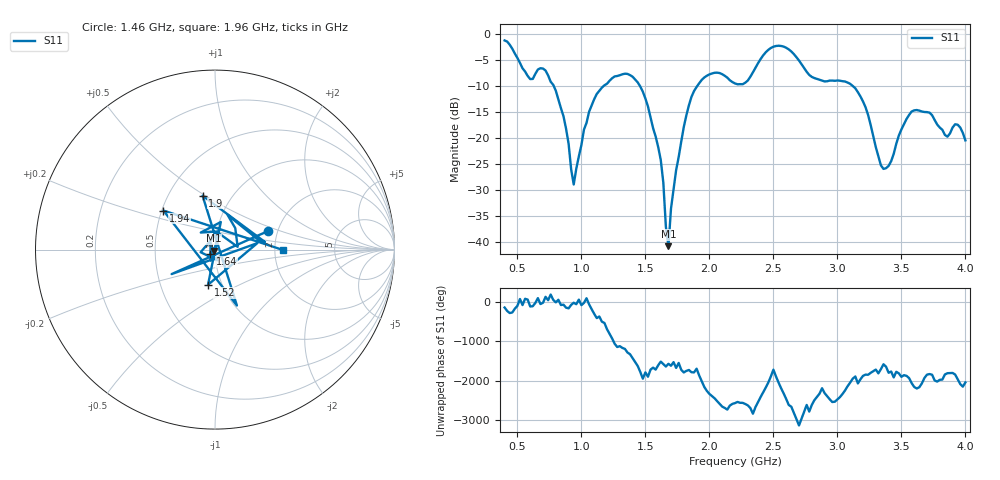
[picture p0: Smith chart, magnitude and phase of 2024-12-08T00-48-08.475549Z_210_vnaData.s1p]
!Created with skrf (http://scikit-rf.org).
# Hz S RI R 50.0
!freq ReS11 ImS11
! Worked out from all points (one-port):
!   181 points, 400 MHz to 4 GHz, reference 50 ohm
!   lowest |S11| = -40.9 dB at 1.68 GHz (marker M1), VSWR 1.02, Z = 49.4 - j0.65 ohm
!   |S11| at or under -10 dB: 783.2 MHz to 1.175 GHz (392.3 MHz wide, 40.1 % of centre); 1.457 GHz to 1.906 GHz (449.6 MHz wide, 26.7 % of centre); 3.118 GHz to end of sweep
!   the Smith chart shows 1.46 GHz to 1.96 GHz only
!   S11 on the Smith chart (normalised r, x): 1.46 GHz: 1.77, +0.40; 1.52 GHz: 0.86, -0.35; 1.64 GHz: 0.95, -0.05; 1.9 GHz: 0.73, +0.49; 1.94 GHz: 0.51, +0.26; 1.96 GHz: 2.23, -0.01
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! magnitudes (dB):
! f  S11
! 400 MHz  -1.3
! 600 MHz  -8.7
! 720 MHz  -7.1
! 860 MHz  -15.9
! 940 MHz  -29.0
! 1.02 GHz  -18.4
! 1.1 GHz  -12.6
! 1.3 GHz  -8.0
! 1.46 GHz  -10.1
! 1.52 GHz  -14.0
! 1.64 GHz  -28.6
! 1.66 GHz  -37.2
! 1.68 GHz  -40.9
! 1.7 GHz  -33.7
! 1.76 GHz  -23.7
! 1.9 GHz  -10.2
! 1.94 GHz  -8.9
! 1.96 GHz  -8.4
! 2.2 GHz  -9.5
! 2.48 GHz  -2.7
! 2.66 GHz  -3.9
! 2.8 GHz  -8.3
! 3.1 GHz  -9.6
! 3.22 GHz  -14.1
! 3.36 GHz  -26.0
! 3.56 GHz  -15.6
! 3.94 GHz  -17.5
! 4 GHz  -20.5
